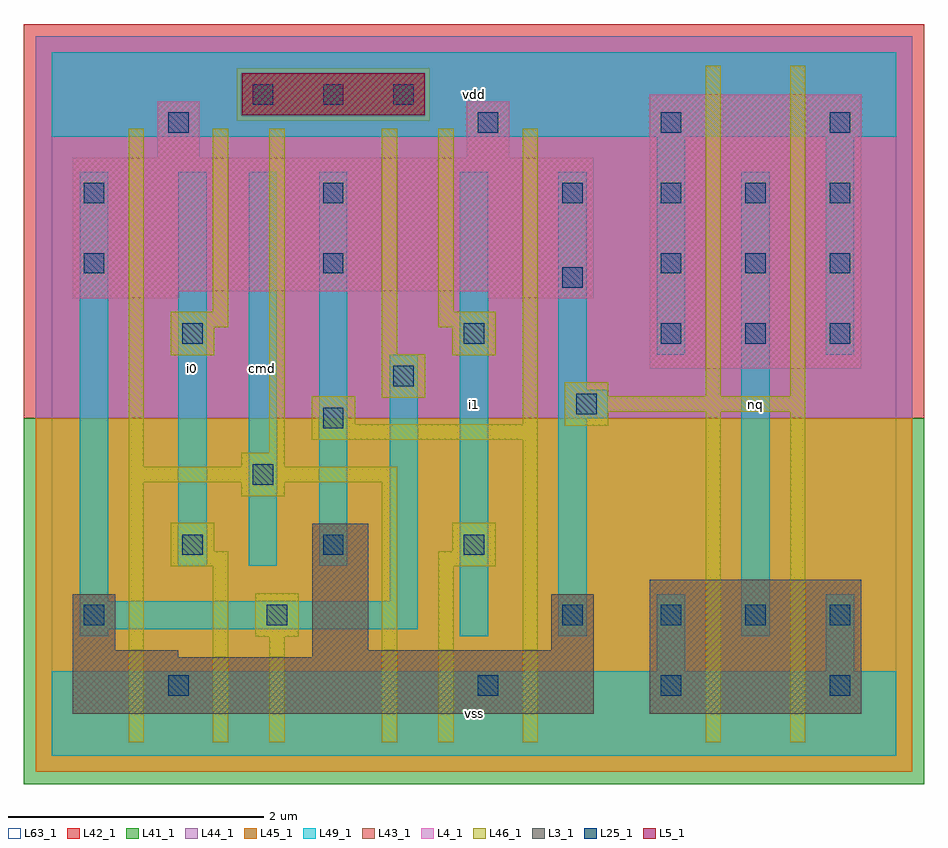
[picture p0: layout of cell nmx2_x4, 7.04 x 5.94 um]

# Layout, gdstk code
import gdstk
lib = gdstk.Library(unit=1e-6, precision=1e-09)
def R(c, l, rs):  # rectangles x0, y0, x1, y1
    for r in rs: c.add(gdstk.rectangle(r[:2], r[2:], *l))
def A(c, l, x, y, w, h, nx, ny, dx, dy):  # array of equal rectangles
    R(c, l, [(x+i*dx, y+j*dy, x+i*dx+w, y+j*dy+h) for i in range(nx) for j in range(ny)])
L3_1 = (3, 1)
L4_1 = (4, 1)
L5_1 = (5, 1)
L25_1 = (25, 1)
L41_1 = (41, 1)
L42_1 = (42, 1)
L43_1 = (43, 1)
L44_1 = (44, 1)
L45_1 = (45, 1)
L46_1 = (46, 1)
L49_1 = (49, 1)
L63_1 = (63, 1)

nmx2_x4 = lib.new_cell('nmx2_x4')
R(nmx2_x4, L3_1, [(0.165,0.33,4.235,0.77), (4.675,0.33,6.325,1.375), (0.165,0.77,0.99,0.825), (2.035,0.77,4.235,0.825), (0.165,0.825,0.495,1.265), (2.035,0.825,2.475,1.815), (3.905,0.825,4.235,1.265)])
R(nmx2_x4, L4_1, [(4.675,3.025,6.325,5.17), (0.165,3.575,0.99,3.63), (3.41,3.575,4.235,3.63), (0.165,3.63,4.235,4.675), (0.825,4.675,1.155,5.115), (3.245,4.675,3.575,5.115)])
R(nmx2_x4, L5_1, [(1.485,5.005,2.915,5.335)])
A(nmx2_x4, L25_1, 4.76, 1.02, 0.16, 0.16, 3, 2, 0.66, 2.2)
A(nmx2_x4, L25_1, 1.02, 1.57, 0.16, 0.16, 3, 1, 1.1, 0)
A(nmx2_x4, L25_1, 4.76, 3.77, 0.16, 0.16, 3, 2, 0.66, 0.55)
A(nmx2_x4, L25_1, 0.25, 4.32, 0.16, 0.16, 3, 1, 1.87, 0)
A(nmx2_x4, L25_1, 1.57, 5.09, 0.16, 0.16, 3, 1, 0.55, 0)
R(nmx2_x4, L25_1, [(0.91,0.47,1.07,0.63), (3.33,0.47,3.49,0.63), (4.76,0.47,4.92,0.63), (6.08,0.47,6.24,0.63), (0.25,1.02,0.41,1.18), (1.68,1.02,1.84,1.18), (3.99,1.02,4.15,1.18), (1.57,2.12,1.73,2.28), (2.12,2.56,2.28,2.72), (4.1,2.67,4.26,2.83), (2.67,2.89,2.83,3.05), (1.02,3.22,1.18,3.38), (3.22,3.22,3.38,3.38), (3.99,3.66,4.15,3.82), (0.25,3.77,0.41,3.93), (2.12,3.77,2.28,3.93), (0.91,4.87,1.07,5.03), (3.33,4.87,3.49,5.03), (4.76,4.87,4.92,5.03), (6.08,4.87,6.24,5.03)])
R(nmx2_x4, L41_1, [(-0.22,-0.22,6.82,2.64)])
R(nmx2_x4, L42_1, [(-0.22,2.64,6.82,5.72)])
R(nmx2_x4, L43_1, [(0.165,0.33,4.235,0.77), (4.675,0.33,6.325,1.375), (0.165,0.77,0.99,0.825), (2.035,0.77,4.235,0.825), (0.165,0.825,0.495,1.265), (2.035,0.825,2.475,1.815), (3.905,0.825,4.235,1.265), (4.675,3.025,6.325,5.17), (0.165,3.575,0.99,3.63), (3.41,3.575,4.235,3.63), (0.165,3.63,4.235,4.675), (0.825,4.675,1.155,5.115), (3.245,4.675,3.575,5.115), (1.485,5.005,2.915,5.335)])
R(nmx2_x4, L44_1, [(-0.125,2.64,6.725,4.965), (-0.125,4.965,1.445,5.375), (2.955,4.965,6.725,5.375), (-0.125,5.375,6.725,5.625)])
R(nmx2_x4, L45_1, [(-0.125,-0.125,6.725,2.64), (1.445,4.965,2.955,5.375)])
R(nmx2_x4, L46_1, [(0.6,0.105,0.72,2.14), (1.26,0.105,1.38,1.48), (1.7,0.105,1.82,0.93), (2.58,0.105,2.7,2.14), (3.02,0.105,3.14,1.48), (3.68,0.105,3.8,2.47), (5.11,0.105,5.23,2.69), (5.77,0.105,5.89,2.69), (1.59,0.93,1.93,1.27), (0.93,1.48,1.38,1.6), (3.02,1.48,3.47,1.6), (0.93,1.6,1.27,1.82), (3.13,1.6,3.47,1.82), (1.48,2.03,1.82,2.14), (0.6,2.14,2.7,2.26), (0.6,2.26,0.72,4.9), (1.48,2.26,1.82,2.37), (1.7,2.37,1.82,4.9), (2.03,2.47,3.8,2.59), (4.01,2.58,4.35,2.69), (2.03,2.59,2.37,2.81), (3.68,2.59,3.8,4.9), (4.01,2.69,5.89,2.81), (2.58,2.8,2.92,3.14), (4.01,2.81,4.35,2.92), (5.11,2.81,5.23,5.395), (5.77,2.81,5.89,5.395), (0.93,3.13,1.27,3.35), (3.13,3.13,3.47,3.35), (2.58,3.14,2.7,4.9), (0.93,3.35,1.38,3.47), (3.02,3.35,3.47,3.47), (1.26,3.47,1.38,4.9), (3.02,3.47,3.14,4.9)])
A(nmx2_x4, L49_1, 0.99, 1.485, 0.22, 3.08, 3, 1, 0.55, 0)
R(nmx2_x4, L49_1, [(0,0,6.6,0.66), (4.73,0.66,4.95,1.265), (6.05,0.66,6.27,1.265), (0.22,0.935,0.44,0.99), (3.19,0.935,3.41,4.565), (3.96,0.935,4.18,2.64), (5.39,0.935,5.61,4.565), (0.22,0.99,2.86,1.21), (0.22,1.21,0.44,4.565), (2.64,1.21,2.86,3.135), (3.96,2.64,4.345,2.86), (3.96,2.86,4.18,4.565), (4.73,3.135,4.95,4.84), (6.05,3.135,6.27,4.84), (0,4.84,6.6,5.5)])
R(nmx2_x4, L63_1, [(0,0,6.6,5.5)])
nmx2_x4.add(gdstk.Label('i0', (1.1,3.025), layer=49, texttype=1))
nmx2_x4.add(gdstk.Label('cmd', (1.65,3.025), layer=49, texttype=1))
nmx2_x4.add(gdstk.Label('vss', (3.3,0.33), layer=49, texttype=1))
nmx2_x4.add(gdstk.Label('i1', (3.3,2.75), layer=49, texttype=1))
nmx2_x4.add(gdstk.Label('vdd', (3.3,5.17), layer=49, texttype=1))
nmx2_x4.add(gdstk.Label('nq', (5.5,2.75), layer=49, texttype=1))

lib.write_gds('nmx2_x4.gds')
